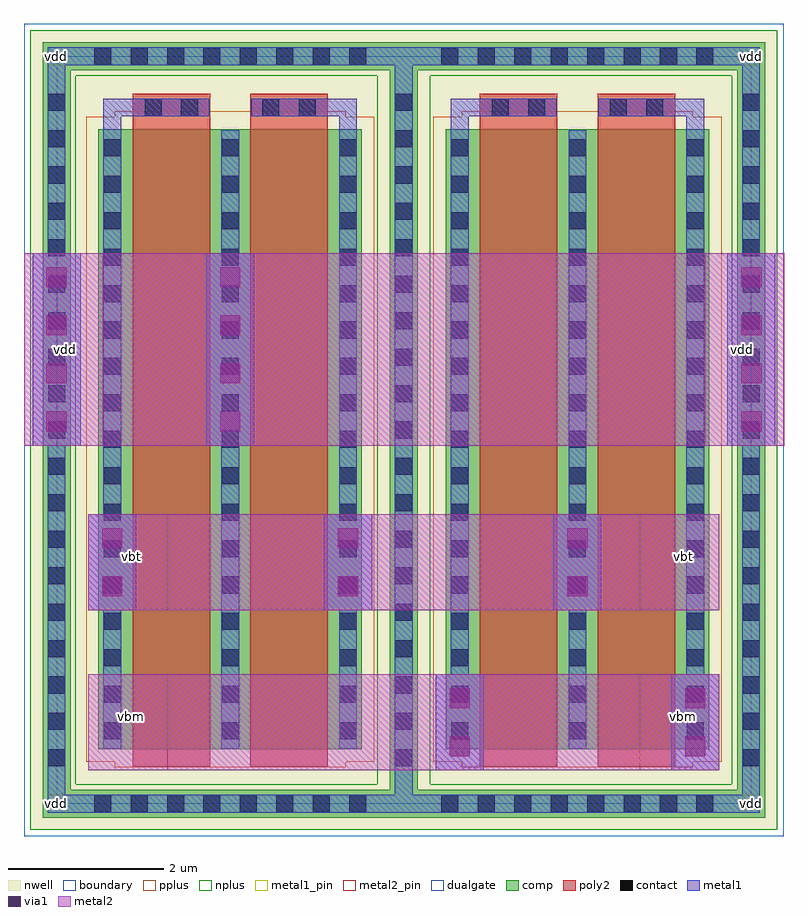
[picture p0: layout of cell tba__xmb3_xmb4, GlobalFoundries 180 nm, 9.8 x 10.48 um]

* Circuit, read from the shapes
.subckt tba__xmb3_xmb4 vbm vbt vdd
XM1 vdd vbt vbt vdd pfet_06v0 w=8u l=1u m=2
XM2 vbt vbm vbm vdd pfet_06v0 w=8u l=1u m=2
.ends

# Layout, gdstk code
from math import pi, radians
import gdstk
lib = gdstk.Library(unit=1e-6, precision=1e-09)
def R(c, l, rs):  # rectangles x0, y0, x1, y1
    for r in rs: c.add(gdstk.rectangle(r[:2], r[2:], *l))
def A(c, l, x, y, w, h, nx, ny, dx, dy):  # array of equal rectangles
    R(c, l, [(x+i*dx, y+j*dy, x+i*dx+w, y+j*dy+h) for i in range(nx) for j in range(ny)])
def P(c, l, *ps):  # polygons
    for p in ps: c.add(gdstk.Polygon(p, *l))
boundary = (0, 0)
nwell = (21, 0)
comp = (22, 0)
poly2 = (30, 0)
pplus = (31, 0)
nplus = (32, 0)
contact = (33, 0)
metal1 = (34, 0)
metal1_pin = (34, 10)
via1 = (35, 0)
metal2 = (36, 0)
metal2_pin = (36, 10)
dualgate = (55, 0)

via__m1_m2_squ = lib.new_cell('via__M1_M2_SQU')
R(via__m1_m2_squ, metal1, [(0,0,1.24,0.62), (0,0,1.24,0.62)])
R(via__m1_m2_squ, via1, [(0.18,0.18,0.44,0.44), (0.18,0.18,0.44,0.44), (0.8,0.18,1.06,0.44), (0.8,0.18,1.06,0.44)])
R(via__m1_m2_squ, metal2, [(0,0,1.24,0.62), (0,0,1.24,0.62)])

pfet_06v0_8u_1u_2nf = lib.new_cell('pfet_06v0_8u_1u_2nf')
R(pfet_06v0_8u_1u_2nf, boundary, [(0.42,0.42,4.9,10.06)])
R(pfet_06v0_8u_1u_2nf, nwell, [(0.08,0.08,5.24,10.4)])
R(pfet_06v0_8u_1u_2nf, comp, [(0.24,0.24,5.08,0.6), (0.24,0.6,0.6,9.88), (4.72,0.6,5.08,9.88), (0.96,1.12,4.36,9.12), (0.24,9.88,5.08,10.24)])
R(pfet_06v0_8u_1u_2nf, poly2, [(1.4,0.9,2.4,9.58), (2.92,0.9,3.92,9.58)])
R(pfet_06v0_8u_1u_2nf, pplus, [(1.17,0.89,4.15,0.96), (0.8,0.96,4.52,9.28), (1.17,9.28,4.15,9.35)])
R(pfet_06v0_8u_1u_2nf, nplus, [(0.08,0.08,5.24,0.67), (0.08,0.67,0.67,9.81), (4.65,0.67,5.24,9.81), (0.08,9.81,5.24,10.4)])
A(pfet_06v0_8u_1u_2nf, contact, 0.905, 0.31, 0.22, 0.22, 8, 2, 0.47, 9.64)
A(pfet_06v0_8u_1u_2nf, contact, 0.31, 0.9, 0.22, 0.22, 1, 19, 0, 0.47)
A(pfet_06v0_8u_1u_2nf, contact, 4.79, 0.9, 0.22, 0.22, 1, 19, 0, 0.47)
A(pfet_06v0_8u_1u_2nf, contact, 1.03, 1.25, 0.22, 0.22, 3, 17, 1.52, 0.47)
R(pfet_06v0_8u_1u_2nf, contact, [(1.555,9.29,1.775,9.51), (2.025,9.29,2.245,9.51), (3.075,9.29,3.295,9.51), (3.545,9.29,3.765,9.51)])
A(pfet_06v0_8u_1u_2nf, metal1, 1.025, 1.13, 0.23, 7.98, 3, 1, 1.52, 0)
R(pfet_06v0_8u_1u_2nf, metal1, [(0.305,0.305,5.015,0.535), (0.305,0.535,0.535,9.945), (4.785,0.535,5.015,9.945), (1.41,9.285,2.39,9.515), (2.93,9.285,3.91,9.515), (0.305,9.945,5.015,10.175)])
R(pfet_06v0_8u_1u_2nf, dualgate, [(0,0,5.32,10.48)])

tba__xmb3_xmb4 = lib.new_cell('tba__xmb3_xmb4')
P(tba__xmb3_xmb4, metal1, [(4.065,9.11),(4.065,9.285),(3.91,9.285),(3.91,9.515),(4.295,9.515),(4.295,9.11)],
  [(8.545,9.11),(8.545,9.285),(8.39,9.285),(8.39,9.515),(8.775,9.515),(8.775,9.11)],
  [(1.025,9.11),(1.025,9.515),(1.41,9.515),(1.41,9.285),(1.255,9.285),(1.255,9.11)],
  [(5.505,9.11),(5.505,9.515),(5.89,9.515),(5.89,9.285),(5.735,9.285),(5.735,9.11)])
R(tba__xmb3_xmb4, metal1_pin, [(0.305,0.305,0.535,0.535), (9.265,0.305,9.495,0.535), (0.305,9.945,0.535,10.175), (9.265,9.945,9.495,10.175)])
R(tba__xmb3_xmb4, metal2, [(0.83,0.85,8.97,2.09), (0.83,2.915,8.97,4.155), (0,5.04,9.8,7.52)])
R(tba__xmb3_xmb4, metal2_pin, [(0.83,0.85,1.855,2.09), (7.945,0.85,8.97,2.09), (0.83,2.915,1.855,4.155), (7.945,2.915,8.97,4.155), (0,5.04,1.025,7.52), (8.78,5.04,9.805,7.52)])
tba__xmb3_xmb4.add(gdstk.Reference(via__m1_m2_squ, (5.31,2.09), rotation=3*pi/2))
tba__xmb3_xmb4.add(gdstk.Reference(via__m1_m2_squ, (8.35,2.09), rotation=3*pi/2))
tba__xmb3_xmb4.add(gdstk.Reference(via__m1_m2_squ, (0.83,4.155), rotation=3*pi/2))
tba__xmb3_xmb4.add(gdstk.Reference(via__m1_m2_squ, (3.87,4.155), rotation=3*pi/2))
tba__xmb3_xmb4.add(gdstk.Reference(via__m1_m2_squ, (6.83,4.155), rotation=3*pi/2))
tba__xmb3_xmb4.add(gdstk.Reference(via__m1_m2_squ, (0.11,6.28), rotation=3*pi/2))
tba__xmb3_xmb4.add(gdstk.Reference(via__m1_m2_squ, (2.35,6.28), rotation=3*pi/2))
tba__xmb3_xmb4.add(gdstk.Reference(via__m1_m2_squ, (0.11,7.52), rotation=3*pi/2))
tba__xmb3_xmb4.add(gdstk.Reference(via__m1_m2_squ, (2.35,7.52), rotation=3*pi/2))
tba__xmb3_xmb4.add(gdstk.Reference(via__m1_m2_squ, (9.695,6.28), rotation=3*pi/2, x_reflection=True))
tba__xmb3_xmb4.add(gdstk.Reference(via__m1_m2_squ, (9.695,7.52), rotation=3*pi/2, x_reflection=True))
tba__xmb3_xmb4.add(gdstk.Reference(pfet_06v0_8u_1u_2nf, (0,0)))
tba__xmb3_xmb4.add(gdstk.Reference(pfet_06v0_8u_1u_2nf, (4.48,0)))
tba__xmb3_xmb4.add(gdstk.Label('vdd', (0.425,0.415), layer=34, texttype=10))
tba__xmb3_xmb4.add(gdstk.Label('vdd', (9.385,0.415), layer=34, texttype=10))
tba__xmb3_xmb4.add(gdstk.Label('vdd', (0.425,10.055), layer=34, texttype=10))
tba__xmb3_xmb4.add(gdstk.Label('vdd', (9.385,10.055), layer=34, texttype=10))
tba__xmb3_xmb4.add(gdstk.Label('vbt', (1.39,3.605), layer=36, texttype=10))
tba__xmb3_xmb4.add(gdstk.Label('vbt', (8.505,3.605), layer=36, texttype=10))
tba__xmb3_xmb4.add(gdstk.Label('vbm', (1.39,1.54), layer=36, texttype=10))
tba__xmb3_xmb4.add(gdstk.Label('vbm', (8.505,1.54), layer=36, texttype=10))
tba__xmb3_xmb4.add(gdstk.Label('vdd', (0.535,6.28), layer=36, texttype=10))
tba__xmb3_xmb4.add(gdstk.Label('vdd', (9.27,6.28), layer=36, texttype=10))

lib.write_gds('tba__xmb3_xmb4.gds')
